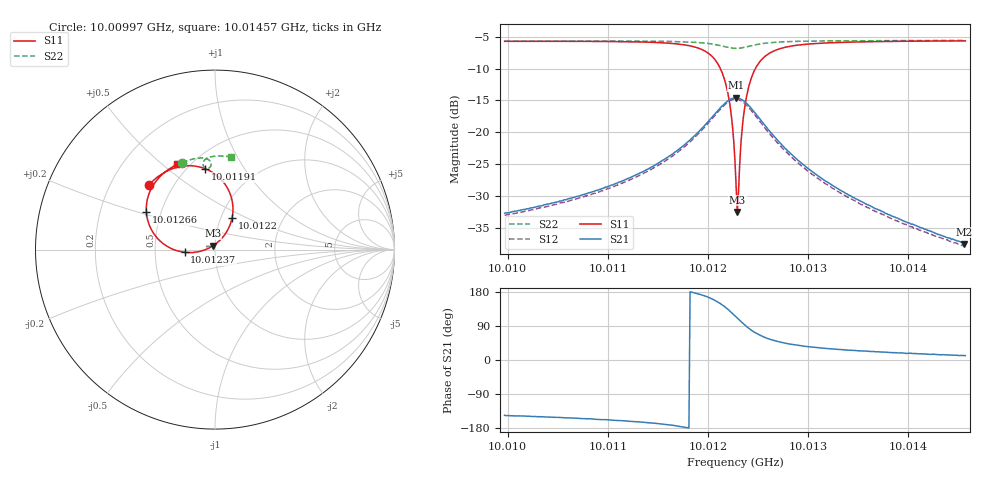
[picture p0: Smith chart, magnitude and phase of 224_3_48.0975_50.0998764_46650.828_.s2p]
#  HZ  S  RI  R  50.00
! Rohde & Schwarz Vector Network Analyzer
! Rohde-Schwarz,ZNB20-2Port,1311601062101988,3.16
! Created: UTC 12/23/2023, 3:57:06 AM
! freq[Hz]  re:S11  im:S11  re:S21  im:S21  re:S12  im:S12  re:S22  im:S22
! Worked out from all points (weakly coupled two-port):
!   401 points, 10.00997 GHz to 10.01457 GHz, reference 50 ohm
!   highest |S21| = -14.58 dB at 10.01228 GHz (marker M1); lowest = -37.4 dB at 10.01456 GHz (marker M2)
!   lowest |S11| = -32.4 dB at 10.01229 GHz (marker M3), VSWR 1.05, Z = 48.9 + j2.09 ohm
!   |S11| at or under -10 dB: 10.01212 GHz to 10.01247 GHz (350.5 kHz wide, 0.0035 % of centre)
!   |S22| runs from -6.8 to -5.6 dB; largest |S21 - S12| = 0.0091
!   S11 on the Smith chart (normalised r, x): 10.00997 GHz: 0.37, +0.36; 10.01191 GHz: 0.60, +0.69; 10.0122 GHz: 1.13, +0.41; 10.01237 GHz: 0.71, -0.02; 10.01266 GHz: 0.42, +0.21; 10.01457 GHz: 0.43, +0.56
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1.000997e10  -0.3678 0.3621  -0.0194 -0.0131  -0.0181 -0.0134  -0.1838 0.4849
1.001074e10  -0.312 0.4104  -0.0293 -0.0139  -0.0274 -0.0148  -0.1343 0.5015
1.0011511e10  -0.2057 0.4603  -0.0567 -0.0121  -0.0539 -0.0142  -0.0774 0.5107
1.0011913e10  -0.0538 0.4502  -0.1019 0.0115  -0.0991 0.00526  -0.0387 0.5028
1.0012097e10  0.072 0.3379  -0.1318 0.0669  -0.1319 0.0583  -0.0219 0.482
1.0012155e10  0.098 0.2563  -0.1321 0.0989  -0.1336 0.0902  -0.0217 0.4709
1.0012201e10  0.095 0.1749  -0.1217 0.1287  -0.1241 0.1208  -0.0258 0.4616
1.0012235e10  0.0712 0.1101  -0.1054 0.1505  -0.1094 0.1423  -0.0316 0.4561
1.001227e10  0.0277 0.0522  -0.0828 0.1672  -0.0874 0.1599  -0.0395 0.453
1.0012281e10  0.00971 0.0362  -0.0745 0.1711  -0.0789 0.1643  -0.042 0.4526
1.0012293e10  -0.0108 0.0213  -0.0656 0.1743  -0.0697 0.1677  -0.045 0.4525
1.0012304e10  -0.0323 0.00916  -0.0565 0.1767  -0.0604 0.1703  -0.0478 0.4528
1.0012316e10  -0.0546 -0.000746  -0.0476 0.1781  -0.0509 0.1719  -0.0505 0.4534
1.0012339e10  -0.1009 -0.0135  -0.0289 0.1782  -0.0331 0.1721  -0.0556 0.4557
1.0012373e10  -0.1691 -0.0153  -0.00303 0.1724  -0.00836 0.1666  -0.0615 0.461
1.0012419e10  -0.2464 0.00731  0.0241 0.1569  0.0184 0.1517  -0.066 0.4699
1.0012477e10  -0.3144 0.0564  0.0446 0.1327  0.0383 0.1288  -0.0669 0.4808
1.0012661e10  -0.3822 0.2075  0.058 0.0727  0.0528 0.0713  -0.0529 0.5035
1.001304e10  -0.3502 0.3484  0.0409 0.0278  0.0376 0.0283  -0.0183 0.5182
1.0013811e10  -0.2715 0.4375  0.0214 0.00773  0.0198 0.00851  0.0394 0.5215
1.0014558e10  -0.2112 0.4755  0.0132 0.00273  0.0126 0.00335  0.0897 0.5164
1.001457e10  -0.2102 0.4759  0.0133 0.00274  0.0124 0.00346  0.0905 0.5163
